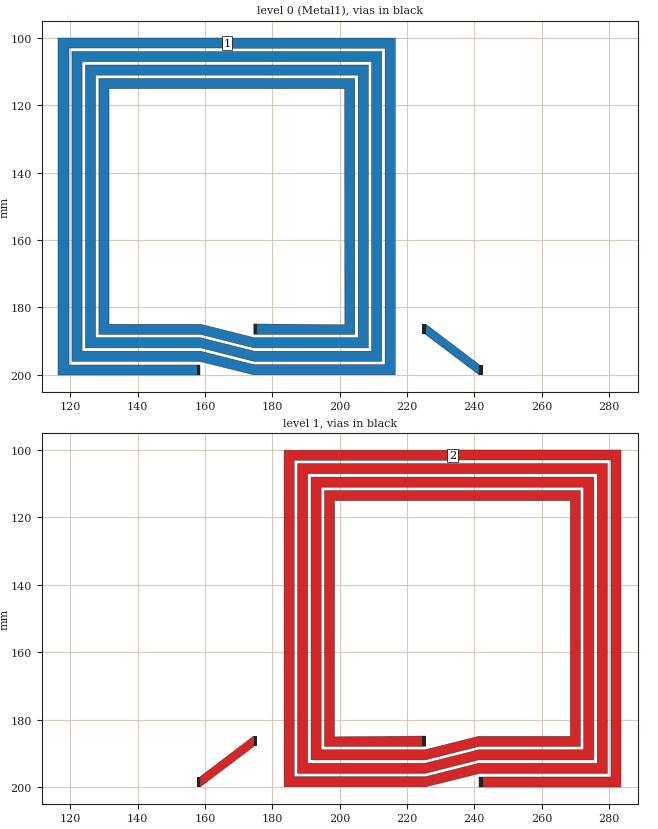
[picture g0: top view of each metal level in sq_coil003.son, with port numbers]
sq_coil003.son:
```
FTYP SONPROJ 19 ! Sonnet Project File
VER 18.54
HEADER
LIC kasetsartu2.2.52039
DAT 12/10/2022 23:43:14
BUILT_BY_CREATED xgeom 18.53-Lite 12/10/2022 14:39:05
BUILT_BY_SAVED sonnet 18.54
MDATE 12/10/2022 23:43:14
HDATE 12/10/2022 23:43:14
END HEADER
DIM
ANG DEG
CAP PF
CON /OH
FREQ GHZ
IND NH
LNG MM
RES OH
END DIM
CONTROL
VARSWP
OPTIONS  -d
SPEED 0
CACHE_ABS 2
Q_ACC N
END CONTROL
GEO
TMET "Lossless" 0 SUP 0 0 0 0
BMET "Lossless" 0 SUP 0 0 0 0
BOX 2 400 300 800 600 20 0
      300 1 1 0 0 0 0 "Air"
      1.6 4.4 1 0.02 0 0 0 "FR4"
      300 1 1 0 0 0 0 "AIR"
TECHLAY METAL Metal1 <UNSPECIFIED> -2 -65534 
0 0 -1 N 123 1 1 100 100 0 0 0 Y
END
END
LORGN 0 6.35 U 
POR1 GAP
POLY 74 1
3
1 50 0 0 0 166.5 101.5 
POR1 GAP
POLARITY REVERSED
POLY 110 1
3
2 50 0 0 0 233.5 101.5 
NUM 14
0 45 -1 N 73 1 1 100 100 0 0 0 Y
TLAYNAM Metal1 INH
216.5 100
166.5 100
166.5 103
213.5 103
213.5 197
174.5277378 197
158.6624125 193
123.5 193
123.5 107
209.5 107
209.5 193
174.6414677 193
158.6624125 189
127.5 189
127.5 111
205.5 111
205.5 189
174.6414677 189
158.7192775 185
131.5 185
131.5 115
201.5 115
201.5559248 185.1662128
174.5 184.8998802
174.5 188
204.5 188
204.5 112
128.5 112
128.5 188
158.7192775 188
174.5846027 192
208.5 192
208.5 108
124.5 108
124.5 192
158.7761424 192
174.5846027 196
212.5 196
212.5 104
120.5 104
120.5 196
158.3780877 196
174.5277378 200
216.5 200
216.5 100
END
0 9 -1 N 74 1 1 100 100 0 0 0 Y
TLAYNAM Metal1 INH
158.5486826 197
119.5 197
119.5 103
166.5 103
166.5 100
116.5 100
116.5 200
158.6055476 200
158.5486826 197
END
VIA POLYGON
0 5 -1 N 62 1 1 100 100 0 0 0 Y
TOLEVEL 1 RING NOCOVERS
174.5 185
175.5 185
175.5 188
174.5 188
174.5 185
END
VIA POLYGON
0 5 -1 N 63 1 1 100 100 0 0 0 Y
TOLEVEL 1 RING NOCOVERS
157.5 197
158.6055476 197
158.6055476 200
157.5 200
157.5 197
END
0 5 -1 N 112 1 1 100 100 0 0 0 Y
225.5 184.8999
241.4513 197
241.3945 200
225.5 188
225.5 184.8999
END
VIA POLYGON
0 5 -1 N 113 1 1 100 100 0 0 0 Y
TOLEVEL 1 RING NOCOVERS
225.5 185
224.5 185
224.5 188
225.5 188
225.5 185
END
VIA POLYGON
0 5 -1 N 114 1 1 100 100 0 0 0 Y
TOLEVEL 1 RING NOCOVERS
242.5 197
241.3945 197
241.3945 200
242.5 200
242.5 197
END
1 5 -1 N 61 1 1 100 100 0 0 0 Y
174.5 184.8998802
158.5486826 197
158.6055476 200
174.5 188
174.5 184.8998802
END
1 5 -1 N 64 1 1 100 100 0 0 0 Y
157.5 197
158.5 197
158.5 200
157.5 200
157.5 197
END
1 5 -1 N 65 1 1 100 100 0 0 0 Y
174.5 185
175.5 185
175.5 188
174.5 188
174.5 185
END
1 5 -1 N 100 1 1 100 100 0 0 0 Y
242.5 197
241.5 197
241.5 200
242.5 200
242.5 197
END
1 5 -1 N 101 1 1 100 100 0 0 0 Y
225.5 185
224.5 185
224.5 188
225.5 188
225.5 185
END
1 45 -1 N 108 1 1 100 100 0 0 0 Y
183.5 100
233.5 100
233.5 103
186.5 103
186.5 197
225.4723 197
241.3376 193
276.5 193
276.5 107
190.5 107
190.5 193
225.3585 193
241.3376 189
272.5 189
272.5 111
194.5 111
194.5 189
225.3585 189
241.2807 185
268.5 185
268.5 115
198.5 115
198.4441 185.1662
225.5 184.8999
225.5 188
195.5 188
195.5 112
271.5 112
271.5 188
241.2807 188
225.4154 192
191.5 192
191.5 108
275.5 108
275.5 192
241.2239 192
225.4154 196
187.5 196
187.5 104
279.5 104
279.5 196
241.6219 196
225.4723 200
183.5 200
183.5 100
END
1 9 -1 N 110 1 1 100 100 0 0 0 Y
241.4513 197
280.5 197
280.5 103
233.5 103
233.5 100
283.5 100
283.5 200
241.3945 200
241.4513 197
END
END GEO
OPT
MAX 100
END OPT
VARSWP
ENABLED Y
FREQ N AY ABS_ENTRY UNK 
FREQ N AN STEP 0.0135
FREQ Y AN SWEEP 0.013 0.014 0.001
END
END VARSWP
FILEOUT
TOUCH D Y $BASENAME.s2p IC 15 S RI R 50.00000
FOLDER .
END FILEOUT
```
